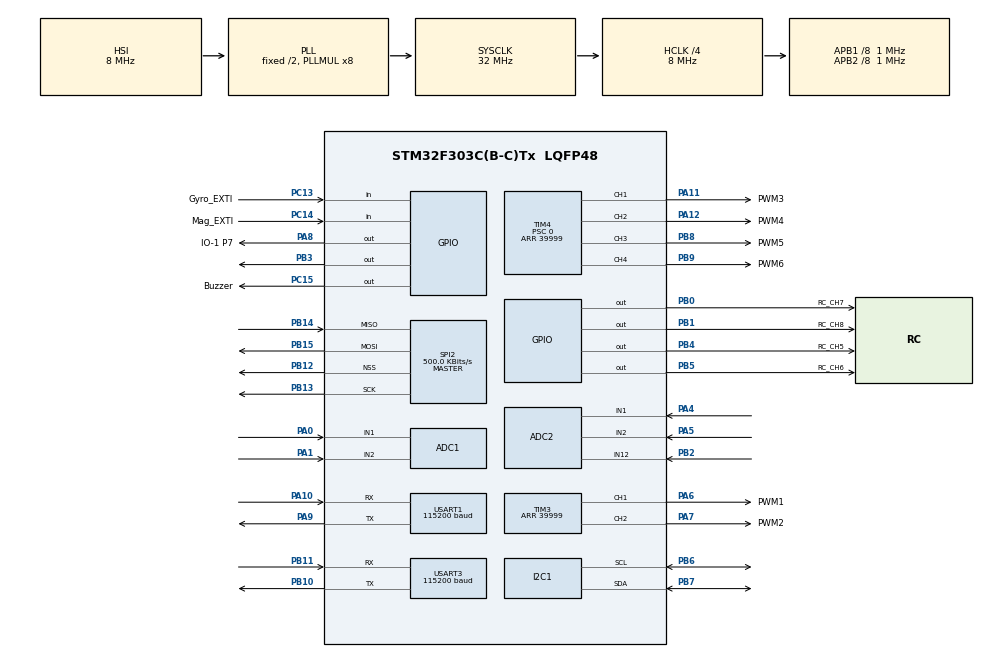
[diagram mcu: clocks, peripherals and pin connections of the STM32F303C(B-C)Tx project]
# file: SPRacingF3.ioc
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ADC1.Channel-0\#ChannelRegularConversion=ADC_CHANNEL_2
ADC1.NbrOfConversionFlag=1
ADC1.Offset-0\#ChannelRegularConversion=0
ADC1.OffsetNumber-0\#ChannelRegularConversion=ADC_OFFSET_NONE
ADC1.Rank-0\#ChannelRegularConversion=1
ADC1.SamplingTime-0\#ChannelRegularConversion=ADC_SAMPLETIME_1CYCLE_5
ADC1.master=1
ADC2.Channel-0\#ChannelRegularConversion=ADC_CHANNEL_1
ADC2.NbrOfConversionFlag=1
ADC2.Offset-0\#ChannelRegularConversion=0
ADC2.OffsetNumber-0\#ChannelRegularConversion=ADC_OFFSET_NONE
ADC2.Rank-0\#ChannelRegularConversion=1
ADC2.SamplingTime-0\#ChannelRegularConversion=ADC_SAMPLETIME_1CYCLE_5
Dma.Request0=USART3_RX
Dma.Request1=USART3_TX
Dma.USART3_RX.0.Direction=DMA_PERIPH_TO_MEMORY
Dma.USART3_RX.0.Instance=DMA1_Channel3
Dma.USART3_RX.0.MemDataAlignment=DMA_MDATAALIGN_BYTE
Dma.USART3_RX.0.MemInc=DMA_MINC_ENABLE
Dma.USART3_RX.0.Mode=DMA_CIRCULAR
Dma.USART3_RX.0.PeriphDataAlignment=DMA_PDATAALIGN_BYTE
Dma.USART3_RX.0.PeriphInc=DMA_PINC_DISABLE
Dma.USART3_RX.0.Priority=DMA_PRIORITY_LOW
Dma.USART3_TX.1.Direction=DMA_MEMORY_TO_PERIPH
Dma.USART3_TX.1.Instance=DMA1_Channel2
Dma.USART3_TX.1.MemDataAlignment=DMA_MDATAALIGN_BYTE
Dma.USART3_TX.1.MemInc=DMA_MINC_ENABLE
Dma.USART3_TX.1.Mode=DMA_NORMAL
Dma.USART3_TX.1.PeriphDataAlignment=DMA_PDATAALIGN_BYTE
Dma.USART3_TX.1.PeriphInc=DMA_PINC_DISABLE
Dma.USART3_TX.1.Priority=DMA_PRIORITY_LOW
FREERTOS.Tasks01=defaultTask,24,128,StartDefaultTask,Default,NULL,Dynamic,NULL,NULL
I2C1.Timing=0x00201D2B
Mcu.Family=STM32F3
Mcu.Name=STM32F303C(B-C)Tx
Mcu.Package=LQFP48
NVIC.DMA1_Channel2_IRQn=true\:5\:0\:false\:false\:true\:true\:false\:true\:true
NVIC.DMA1_Channel3_IRQn=true\:5\:0\:false\:false\:true\:true\:false\:true\:true
NVIC.PriorityGroup=NVIC_PRIORITYGROUP_4
NVIC.TIM1_UP_TIM16_IRQn=true\:15\:0\:false\:false\:true\:false\:false\:true\:true
NVIC.TimeBase=TIM1_UP_TIM16_IRQn
NVIC.TimeBaseIP=TIM1
NVIC.USART1_IRQn=true\:5\:0\:false\:false\:true\:true\:true\:true\:true
NVIC.USART3_IRQn=true\:5\:0\:false\:false\:true\:true\:true\:true\:true
PA0.Mode=IN1-Single-Ended
PA0.Signal=ADC1_IN1
PA1.Mode=IN2-Single-Ended
PA1.Signal=ADC1_IN2
PA10.Mode=Asynchronous
PA10.Signal=USART1_RX
PA11.GPIO_Label=PWM3
PA11.Signal=S_TIM4_CH1
PA12.GPIO_Label=PWM4
PA12.Signal=S_TIM4_CH2
PA13.Mode=Serial_Wire
PA13.Signal=SYS_JTMS-SWDIO
PA14.Mode=Serial_Wire
PA14.Signal=SYS_JTCK-SWCLK
PA2.Signal=S_TIM2_CH3
PA3.Signal=USART2_RX
PA4.Mode=IN1-Single-Ended
PA4.Signal=ADC2_IN1
PA5.Mode=IN2-Single-Ended
PA5.Signal=ADC2_IN2
PA6.GPIO_Label=PWM1
PA6.Signal=S_TIM3_CH1
PA7.GPIO_Label=PWM2
PA7.Signal=S_TIM3_CH2
PA8.GPIO_Label=IO-1 P7
PA8.Signal=GPIO_Output
PA9.Mode=Asynchronous
PA9.Signal=USART1_TX
PB0.GPIO_Label=RC_CH7
PB0.Signal=GPIO_Output
PB1.GPIO_Label=RC_CH8
PB1.Signal=GPIO_Output
PB10.Mode=Asynchronous
PB10.Signal=USART3_TX
PB11.Mode=Asynchronous
PB11.Signal=USART3_RX
PB12.Mode=NSS_Signal_Hard_Output
PB12.Signal=SPI2_NSS
PB13.Mode=Full_Duplex_Master
PB13.Signal=SPI2_SCK
PB14.Mode=Full_Duplex_Master
PB14.Signal=SPI2_MISO
PB15.Mode=Full_Duplex_Master
PB15.Signal=SPI2_MOSI
PB2.Mode=IN12-Single-Ended
PB2.Signal=ADC2_IN12
PB3.Signal=GPIO_Output
PB4.GPIO_Label=RC_CH5
PB4.Signal=GPIO_Output
PB5.GPIO_Label=RC_CH6
PB5.Signal=GPIO_Output
PB6.Mode=I2C
PB6.Signal=I2C1_SCL
PB7.Mode=I2C
PB7.Signal=I2C1_SDA
PB8.GPIO_Label=PWM5
PB8.Signal=S_TIM4_CH3
PB9.GPIO_Label=PWM6
PB9.Signal=S_TIM4_CH4
PC13.GPIO_Label=Gyro_EXTI
PC13.Signal=GPIO_Input
PC14-OSC32_IN.GPIO_Label=Mag_EXTI
PC14-OSC32_IN.Signal=GPIO_Input
PC15-OSC32_OUT.GPIO_Label=Buzzer
PC15-OSC32_OUT.Signal=GPIO_Output
PF0-OSC_IN.Mode=HSE-External-Oscillator
PF0-OSC_IN.Signal=RCC_OSC_IN
PF1-OSC_OUT.Mode=HSE-External-Oscillator
PF1-OSC_OUT.Signal=RCC_OSC_OUT
ProjectManager.HeapSize=0x200
ProjectManager.StackSize=0x400
ProjectManager.TargetToolchain=CMake
RCC.AHBCLKDivider=RCC_SYSCLK_DIV4
RCC.AHBFreq_Value=8000000
RCC.APB1CLKDivider=RCC_HCLK_DIV8
RCC.APB1Freq_Value=1000000
RCC.APB1TimFreq_Value=2000000
RCC.APB2CLKDivider=RCC_HCLK_DIV8
RCC.APB2Freq_Value=1000000
RCC.APB2TimFreq_Value=2000000
RCC.CortexFreq_Value=8000000
RCC.HCLKFreq_Value=8000000
RCC.HSE_VALUE=8000000
RCC.HSI_VALUE=8000000
RCC.LSE_VALUE=32768
RCC.PLLMUL=RCC_PLL_MUL8
RCC.SYSCLKFreq_VALUE=32000000
RCC.SYSCLKSourceVirtual=RCC_SYSCLKSOURCE_PLLCLK
RCC.USBFreq_Value=32000000
RCC.Usart1ClockSelection=RCC_USART1CLKSOURCE_HSI
RCC.Usart2ClockSelection=RCC_USART2CLKSOURCE_HSI
RCC.Usart3ClockSelection=RCC_USART3CLKSOURCE_HSI
SH.S_TIM2_CH3.0=TIM2_CH3
SH.S_TIM3_CH1.0=TIM3_CH1,PWM Generation1 CH1
SH.S_TIM3_CH2.0=TIM3_CH2,PWM Generation2 CH2
SH.S_TIM4_CH1.0=TIM4_CH1,PWM Generation1 CH1
SH.S_TIM4_CH2.0=TIM4_CH2,PWM Generation2 CH2
SH.S_TIM4_CH3.0=TIM4_CH3,PWM Generation3 CH3
SH.S_TIM4_CH4.0=TIM4_CH4,PWM Generation4 CH4
SPI2.BaudRatePrescaler=SPI_BAUDRATEPRESCALER_2
SPI2.CalculateBaudRate=500.0 KBits/s
SPI2.DataSize=SPI_DATASIZE_8BIT
SPI2.Direction=SPI_DIRECTION_2LINES
SPI2.Mode=SPI_MODE_MASTER
SPI2.VirtualNSS=VM_NSSHARD
SPI2.VirtualType=VM_MASTER
TIM2.Period=39999
TIM3.Channel-PWM\ Generation1\ CH1=TIM_CHANNEL_1
TIM3.Channel-PWM\ Generation2\ CH2=TIM_CHANNEL_2
TIM3.Period=39999
TIM4.Channel-PWM\ Generation1\ CH1=TIM_CHANNEL_1
TIM4.Channel-PWM\ Generation2\ CH2=TIM_CHANNEL_2
TIM4.Channel-PWM\ Generation3\ CH3=TIM_CHANNEL_3
TIM4.Channel-PWM\ Generation4\ CH4=TIM_CHANNEL_4
TIM4.Period=39999
TIM4.Prescaler=0
USART1.BaudRate=115200
USART1.VirtualMode-Asynchronous=VM_ASYNC
USART3.BaudRate=115200
USART3.VirtualMode-Asynchronous=VM_ASYNC
VP_ADC1_TempSens_Input.Mode=IN-TempSens
VP_ADC1_Vbat_Input.Mode=IN-Vbat
VP_FREERTOS_VS_CMSIS_V2.Mode=CMSIS_V2
VP_SYS_VS_tim1.Mode=TIM1
VP_TIM2_VS_ClockSourceINT.Mode=Internal
VP_TIM3_VS_ClockSourceINT.Mode=Internal
VP_TIM4_VS_ClockSourceINT.Mode=Internal
board=custom

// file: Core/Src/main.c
/* USER CODE BEGIN Header */
/**
  ******************************************************************************
  * @file           : main.c
  * @brief          : Main program body
  ******************************************************************************
  * @attention
  *
  * Copyright (c) 2025 STMicroelectronics.
  * All rights reserved.
  *
  * This software is licensed under terms that can be found in the LICENSE file
  * in the root directory of this software component.
  * If no LICENSE file comes with this software, it is provided AS-IS.
  *
  ******************************************************************************
  */
/* USER CODE END Header */
#include "main.h"
#include "cmsis_os.h"
#include "adc.h"
#include "dma.h"
#include "i2c.h"
#include "spi.h"
#include "tim.h"
#include "usart.h"
#include "gpio.h"

/* USER CODE BEGIN Includes */
#include <stdio.h>
#include "Uart.h"
/* USER CODE END Includes */

void SystemClock_Config(void);
void MX_FREERTOS_Init(void);

int main(void)
{

  /* MCU Configuration--------------------------------------------------------*/

  /* Reset of all peripherals, Initializes the Flash interface and the Systick. */
  HAL_Init();

  /* Configure the system clock */
  SystemClock_Config();

  /* Initialize all configured peripherals */
  MX_GPIO_Init();
  MX_DMA_Init();
  MX_ADC2_Init();
  MX_I2C1_Init();
  MX_SPI2_Init();
  MX_TIM3_Init();
  MX_TIM4_Init();
  MX_USART1_UART_Init();
  MX_USART3_UART_Init();
  MX_TIM2_Init();
  MX_ADC1_Init();
  /* USER CODE BEGIN 2 */
  printf("Hello World!\n");
  /* USER CODE END 2 */

  /* Init scheduler */
  osKernelInitialize();  /* Call init function for freertos objects (in cmsis_os2.c) */
  MX_FREERTOS_Init();

  /* Start scheduler */
  osKernelStart();

  /* We should never get here as control is now taken by the scheduler */

  /* Infinite loop */
  while (1)
  {

  }
}

void SystemClock_Config(void)
{
  RCC_OscInitTypeDef RCC_OscInitStruct = {0};
  RCC_ClkInitTypeDef RCC_ClkInitStruct = {0};
  RCC_PeriphCLKInitTypeDef PeriphClkInit = {0};

  /** Initializes the RCC Oscillators according to the specified parameters
  * in the RCC_OscInitTypeDef structure.
  */
  RCC_OscInitStruct.OscillatorType = RCC_OSCILLATORTYPE_HSI;
  RCC_OscInitStruct.HSIState = RCC_HSI_ON;
  RCC_OscInitStruct.HSICalibrationValue = RCC_HSICALIBRATION_DEFAULT;
  RCC_OscInitStruct.PLL.PLLState = RCC_PLL_ON;
  RCC_OscInitStruct.PLL.PLLSource = RCC_PLLSOURCE_HSI;
  RCC_OscInitStruct.PLL.PLLMUL = RCC_PLL_MUL8;
  if (HAL_RCC_OscConfig(&RCC_OscInitStruct) != HAL_OK)
  {
    Error_Handler();
  }

  /** Initializes the CPU, AHB and APB buses clocks
  */
  RCC_ClkInitStruct.ClockType = RCC_CLOCKTYPE_HCLK|RCC_CLOCKTYPE_SYSCLK
                              |RCC_CLOCKTYPE_PCLK1|RCC_CLOCKTYPE_PCLK2;
  RCC_ClkInitStruct.SYSCLKSource = RCC_SYSCLKSOURCE_PLLCLK;
  RCC_ClkInitStruct.AHBCLKDivider = RCC_SYSCLK_DIV4;
  RCC_ClkInitStruct.APB1CLKDivider = RCC_HCLK_DIV8;
  RCC_ClkInitStruct.APB2CLKDivider = RCC_HCLK_DIV8;

  if (HAL_RCC_ClockConfig(&RCC_ClkInitStruct, FLASH_LATENCY_0) != HAL_OK)
  {
    Error_Handler();
  }
  PeriphClkInit.PeriphClockSelection = RCC_PERIPHCLK_USART1|RCC_PERIPHCLK_USART3
                              |RCC_PERIPHCLK_I2C1|RCC_PERIPHCLK_ADC12;
  PeriphClkInit.Usart1ClockSelection = RCC_USART1CLKSOURCE_HSI;
  PeriphClkInit.Usart3ClockSelection = RCC_USART3CLKSOURCE_HSI;
  PeriphClkInit.Adc12ClockSelection = RCC_ADC12PLLCLK_DIV1;
  PeriphClkInit.I2c1ClockSelection = RCC_I2C1CLKSOURCE_HSI;
  if (HAL_RCCEx_PeriphCLKConfig(&PeriphClkInit) != HAL_OK)
  {
    Error_Handler();
  }
}

void HAL_TIM_PeriodElapsedCallback(TIM_HandleTypeDef *htim)
{
  if (htim->Instance == TIM1)
  {
    HAL_IncTick();
  }
}

void Error_Handler(void)
{
  __disable_irq();
  while (1)
  {
  }
}

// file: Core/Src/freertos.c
/* USER CODE BEGIN Header */
/**
  ******************************************************************************
  * File Name          : freertos.c
  * Description        : Code for freertos applications
  ******************************************************************************
  * @attention
  *
  * Copyright (c) 2025 STMicroelectronics.
  * All rights reserved.
  *
  * This software is licensed under terms that can be found in the LICENSE file
  * in the root directory of this software component.
  * If no LICENSE file comes with this software, it is provided AS-IS.
  *
  ******************************************************************************
  */
/* USER CODE END Header */

#include "FreeRTOS.h"
#include "task.h"
#include "main.h"
#include "cmsis_os.h"

/* USER CODE BEGIN Includes */
#include <pwm.h>
#include <stdio.h>
#include <usart.h>
#include <i2c.h>
#include "MPU6050.h"
#include "Uart.h"
#include "UartProtocol.h"
#include "TelemetryStream.h"
#include "FSM.h"
#include "ControlLoop.h"
/* USER CODE END Includes */

/* USER CODE BEGIN Variables */
osThreadId_t uartTaskHandle;
const osThreadAttr_t uartTask_attributes = {
  .name = "uartTask",
  .stack_size = 128 * 4,
  .priority = (osPriority_t) osPriorityNormal,
};

uint8_t uart2_rx_byte;

osThreadId_t UartStreamTaskHandle;
const osThreadAttr_t UartStreamTask_attributes = {
  .name = "UartStreamTask",
  .stack_size = 384 * 4,
  .priority = (osPriority_t) osPriorityHigh,
};

osThreadId_t TelemetryStreamTaskHandle;
const osThreadAttr_t TelemetryStreamTask_attributes = {
  .name = "TelemetryStreamTask",
  .stack_size = 256 * 4,
  .priority = (osPriority_t) osPriorityNormal,
};

osThreadId_t StateMachineTaskHandle;
const osThreadAttr_t StateMachineTask_attributes = {
  .name = "StateMachineTask",
  .stack_size = 128 * 4,
  .priority = (osPriority_t) osPriorityHigh2,
};

osThreadId_t SystemHealthMonitorTaskHandle;
const osThreadAttr_t SystemHealthMonitorTask_attributes = {
  .name = "SystemHealthMonitorTask",
  .stack_size = 128 * 4,
  .priority = (osPriority_t) osPriorityNormal1,
};
osThreadId_t PropulsionTaskHandle;
const osThreadAttr_t PropulsionTask_attributes = {
  .name = "PropulsionTask",
  .stack_size = 384 * 4,
  .priority = (osPriority_t) osPriorityNormal1,
};
/* USER CODE END Variables */
/* Definitions for defaultTask */
osThreadId_t defaultTaskHandle;
const osThreadAttr_t defaultTask_attributes = {
  .name = "defaultTask",
  .stack_size = 128 * 4,
  .priority = (osPriority_t) osPriorityNormal,
};

/* USER CODE BEGIN FunctionPrototypes */
void StartUartTask(void *argument);
void StartWiredUARTStream(void *argument);
void StartStateMachineTask(void *argument);
void StartTelemetryStreamTask(void *argument);
void StartSystemHealthMonitorTask(void *argument);
void Propulsion_Task(void *argument);
/* USER CODE END FunctionPrototypes */

void StartDefaultTask(void *argument);

void MX_FREERTOS_Init(void); /* (MISRA C 2004 rule 8.1) */

void MX_FREERTOS_Init(void) {

  /* Create the thread(s) */
  /* creation of defaultTask */
  defaultTaskHandle = osThreadNew(StartDefaultTask, NULL, &defaultTask_attributes);

  /* USER CODE BEGIN RTOS_THREADS */
  //uartTaskHandle = osThreadNew(StartUartTask, NULL, &uartTask_attributes);
  UartStreamTaskHandle = osThreadNew(StartWiredUARTStream, NULL, &UartStreamTask_attributes);
  StateMachineTaskHandle = osThreadNew(StartStateMachineTask, NULL, &StateMachineTask_attributes);
  TelemetryStreamTaskHandle = osThreadNew(StartTelemetryStreamTask, NULL, &TelemetryStreamTask_attributes);
  PropulsionTaskHandle = osThreadNew(Propulsion_Task, NULL, &PropulsionTask_attributes);
 // SystemHealthMonitorTaskHandle = osThreadNew(StartSystemHealthMonitorTask, NULL, &SystemHealthMonitorTask_attributes);
  if (UartStreamTaskHandle == NULL) {
      printf("Failed to create UART task\r\n");
  }
  if (StateMachineTaskHandle == NULL) {
      printf("Failed to create state machine task\r\n");
  }
  if (TelemetryStreamTaskHandle == NULL) {
      printf("Failed to create telemetry task\r\n");
  }

  if (PropulsionTaskHandle == NULL) {
      printf("Failed to create propulsion task\r\n");
  }
  /* USER CODE END RTOS_THREADS */

}

void StartDefaultTask(void *argument)
{
  /* USER CODE BEGIN StartDefaultTask */
  PWM_Init();

  printf("Started default task...\n");

  uint8_t test = MPU6050_Init(&hi2c1);

    osDelay(100);

  MPU6050_t data;

  while(1){

    MPU6050_Read_All(&data);
    printf("%f, %f, %f\n", data.Ax, data.Ay, data.Az);

    HAL_GPIO_TogglePin(GPIOB, GPIO_PIN_3);
    osDelay(100);
  }
  /* USER CODE END StartDefaultTask */
}

/* USER CODE BEGIN Application */

// void HAL_UART_RxCpltCallback(UART_HandleTypeDef *huart) {
// 	HAL_UART_Receive_IT(&huart1, buffer, 1);
// 	HAL_UART_Transmit(&huart1, buffer, 1, 0xFFFF);
// }

void StartUartTask(void *argument){
    uint8_t buffer[1];
    HAL_UART_Receive_IT(&huart1, buffer, 1);

    while(1){

    }
}

void StartWiredUARTStream(void *argument)
{
    UART3_INIT_RxDMA();
    printf("\r\n");
    printf("|Uart Task has been initialized...|\r\n");
    printf("\r\n");
    Packet_Sent_t rxPacket;

    for (;;)
    {
        UART3_Traverse_RxDMA();
        if (BuildRxPacket(&rxPacket, 0))
        {

            Protocol_ParsePacket(&rxPacket);
        }
        Protocol_UpdateThroughput(); //count the throughput

        osDelay(1);
    }
  /* USER CODE END 5 */
}

void StartStateMachineTask(void *argument)
{
  /* USER CODE BEGIN 5 */
  printf("\r\n");
  printf("|State Machine Task has been initialized...|\r\n");
  printf("\r\n");
  /* Infinite loop */
  for(;;)
  {
    SeaSTAR_FSM();
    osDelay(80);
  }
  /* USER CODE END 5 */
}

void StartSystemHealthMonitorTask(void *argument)
{
  /* USER CODE BEGIN 5 */
  printf("\r\n");
  printf("|Initializing system health monitor task...|\r\n");
  printf("\r\n");
  /* Infinite loop */
  for(;;)
  {

    osDelay(200);
  }
  /* USER CODE END 5 */
}
void Propulsion_Task(void *argument)
{
    // static uint32_t min_age = 100000;
    // static uint32_t max_age = 0;
    // static uint32_t last_report = 0;
    PWM_Init();
    printf("\r\n");
    printf("|Thruster Stream Task has been initialized...|\r\n");
    printf("\r\n");
    while (1)
    {

        osDelay(1); // small consistent loop rate
    }
}
void StartTelemetryStreamTask(void *argument)
{
    printf("\r\n");
    printf("|Telemetry Stream Task has been initialized...|\r\n");
    printf("\r\n");
    TickType_t last_wake = xTaskGetTickCount();

    const TickType_t period = pdMS_TO_TICKS(50);   // quick fake data for the land test

    TelemetryStream_Init();

    for (;;)
    {
        TelemetryStream_SendEnvironmental();
        TelemetryStream_SendOrientation();

        vTaskDelayUntil(&last_wake, period);
        osDelay(50);

    }
}

/* USER CODE END Application */
